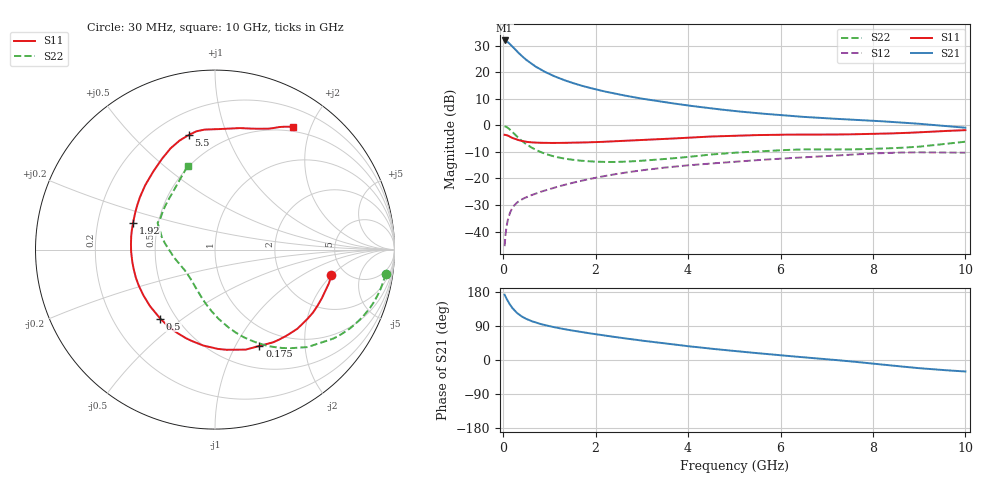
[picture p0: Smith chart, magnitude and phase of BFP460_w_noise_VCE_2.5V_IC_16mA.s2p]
! (c) 2016  Infineon Technologies AG, Munich
! Infineon Technologies  Discrete & RF Semiconductors
! BFP460
! VCE =  2.5 V,  IC =  16 mA
! Common Emitter S-Parameters:  Jan 2016
# GHz  S  MA  R  50
!  f  S11  S21  S12  S22
! GHz  MAG  ANG  MAG  ANG  MAG  ANG  MAG  ANG
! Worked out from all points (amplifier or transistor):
!   229 points, 30 MHz to 10 GHz, reference 50 ohm
!   highest |S21| = 32.0 dB at 30 MHz (marker M1)
!   |S21| within 3 dB of that: start of sweep to 238.2 MHz
!   unconditionally stable (mu >= 1): 1.977 GHz to 7.84 GHz
!   at 280 MHz: K = 0.36, MSG = 28.8 dB, |S12| = -29.4 dB
!   at 1.78 GHz: K = 0.98, MSG = 17.5 dB, |S12| = -20.5 dB
!   at 10 GHz: K = 0.98, MSG = 4.7 dB, |S12| = -10.3 dB
!   lowest NFmin = 1.13 dB at 900 MHz
!   S11 on the Smith chart (normalised r, x): 30 MHz: 3.88, -1.98; 175 MHz: 0.76, -1.26; 500 MHz: 0.41, -0.42; 1.92 GHz: 0.36, +0.14; 5.5 GHz: 0.33, +0.74; 10 GHz: 0.43, +1.74
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0.03  0.6636 -12.4  39.64 172.4  0.0053 84.1  0.9598 -8.0
0.05  0.6564 -20.5  38.87 166.7  0.0088 81.2  0.9485 -13.3
0.09  0.6437 -36.8  37.29 157.7  0.0151 74.3  0.9084 -23.5
0.14  0.6157 -54.5  34.32 147.3  0.0217 67.2  0.8392 -35.0
0.175  0.5911 -65.3  31.92 141.3  0.0254 63.3  0.7837 -41.5
0.2  0.5829 -73.0  30.43 136.9  0.0279 61.0  0.7487 -46.5
0.24  0.5617 -83.5  27.96 131.3  0.0311 57.8  0.6909 -52.7
0.3  0.5383 -97.1  24.7 124.0  0.0351 54.5  0.6146 -61.1
0.4  0.5092 -114.9  20.31 115.0  0.0402 51.3  0.514 -71.8
0.5  0.4906 -128.4  17.07 108.4  0.0443 50.1  0.4407 -80.1
0.6  0.4802 -138.9  14.65 103.1  0.0481 49.7  0.3871 -86.9
0.7  0.4733 -147.4  12.79 98.8  0.0518 49.9  0.347 -92.7
0.9  0.4679 -160.5  10.19 92.1  0.0592 50.6  0.293 -102.2
1.3  0.4674 -178.7  7.202 81.9  0.0746 51.7  0.2388 -116.5
1.7  0.4751 168.0  5.568 73.7  0.0907 51.6  0.2151 -127.7
1.92  0.4806 161.7  4.954 69.6  0.0997 50.9  0.2085 -133.2
3.4  0.5487 129.9  2.806 45.2  0.1566 41.9  0.2287 -167.4
5.1  0.6416 107.0  1.825 22.6  0.2086 30.3  0.3086 165.4
5.5  0.6549 103.0  1.691 18.0  0.2213 27.7  0.3212 161.8
6.8  0.6701 92.1  1.388 4.1  0.2579 18.6  0.352 153.8
8.4  0.7041 73.2  1.161 -14.5  0.3044 4.8  0.3707 137.9
10  0.8108 57.6  0.902 -30.3  0.305 -7.7  0.4918 107.8
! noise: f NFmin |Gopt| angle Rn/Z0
0.45  1.15  0.02  -171  0.12
0.9  1.13  0.05  97  0.15
1.9  1.29  0.14  -157  0.12
3.5  1.26  0.38  -127  0.14
